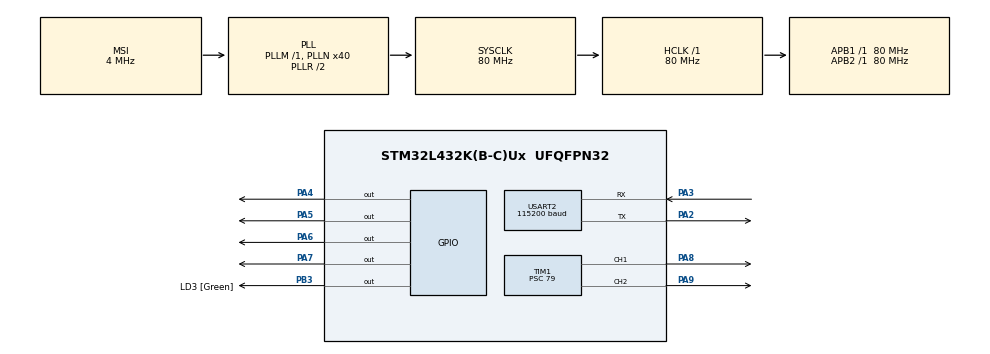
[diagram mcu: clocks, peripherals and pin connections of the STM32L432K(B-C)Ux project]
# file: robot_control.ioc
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Mcu.Family=STM32L4
Mcu.Name=STM32L432K(B-C)Ux
Mcu.Package=UFQFPN32
NVIC.PriorityGroup=NVIC_PRIORITYGROUP_4
NVIC.USART2_IRQn=true\:0\:0\:false\:false\:true\:true\:true\:true
PA0.GPIO_Label=MCO [High speed clock in]
PA0.Mode=HSE-External-Clock-Source-for-LittleOrca
PA0.Signal=RCC_CK_IN
PA13\ (JTMS-SWDIO).GPIO_Label=SWDIO
PA13\ (JTMS-SWDIO).Mode=Serial_Wire
PA13\ (JTMS-SWDIO).Signal=SYS_JTMS-SWDIO
PA14\ (JTCK-SWCLK).GPIO_Label=SWCLK
PA14\ (JTCK-SWCLK).Mode=Serial_Wire
PA14\ (JTCK-SWCLK).Signal=SYS_JTCK-SWCLK
PA2.Mode=Asynchronous
PA2.Signal=USART2_TX
PA3.Mode=Asynchronous
PA3.Signal=USART2_RX
PA4.Signal=GPIO_Output
PA5.Signal=GPIO_Output
PA6.Signal=GPIO_Output
PA7.Signal=GPIO_Output
PA8.Signal=S_TIM1_CH1
PA9.Signal=S_TIM1_CH2
PB3\ (JTDO-TRACESWO).GPIO_Label=LD3 [Green]
PB3\ (JTDO-TRACESWO).Signal=GPIO_Output
PC14-OSC32_IN\ (PC14).Mode=LSE-External-Oscillator
PC14-OSC32_IN\ (PC14).Signal=RCC_OSC32_IN
PC15-OSC32_OUT\ (PC15).Mode=LSE-External-Oscillator
PC15-OSC32_OUT\ (PC15).Signal=RCC_OSC32_OUT
ProjectManager.HeapSize=0x200
ProjectManager.StackSize=0x400
ProjectManager.TargetToolchain=STM32CubeIDE
RCC.AHBFreq_Value=80000000
RCC.APB1Freq_Value=80000000
RCC.APB1TimFreq_Value=80000000
RCC.APB2Freq_Value=80000000
RCC.APB2TimFreq_Value=80000000
RCC.CortexFreq_Value=80000000
RCC.HCLKFreq_Value=80000000
RCC.HSE_VALUE=8000000
RCC.HSI16_VALUE=16000000
RCC.HSI48_VALUE=48000000
RCC.HSI_VALUE=16000000
RCC.MSI_VALUE=4000000
RCC.PLLMUL=RCC_PLLMUL_4
RCC.PLLN=40
RCC.SYSCLKFreq_VALUE=80000000
RCC.SYSCLKSource=RCC_SYSCLKSOURCE_PLLCLK
RCC.VCOOutputFreq_Value=160000000
SH.S_TIM1_CH1.0=TIM1_CH1,PWM Generation1 CH1
SH.S_TIM1_CH2.0=TIM1_CH2,PWM Generation2 CH2
TIM1.AutoReloadPreload=TIM_AUTORELOAD_PRELOAD_ENABLE
TIM1.Channel-PWM\ Generation1\ CH1=TIM_CHANNEL_1
TIM1.Channel-PWM\ Generation2\ CH2=TIM_CHANNEL_2
TIM1.Period=1999
TIM1.Prescaler=79
USART2.BaudRate=115200
USART2.Mode=MODE_RX
USART2.VirtualMode-Asynchronous=VM_ASYNC
VP_TIM1_VS_ClockSourceINT.Mode=Internal
board=NUCLEO-L432KC

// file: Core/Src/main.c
/* USER CODE BEGIN Header */
/**
  ******************************************************************************
  * @file           : main.c
  * @brief          : Main program body
  ******************************************************************************
  * @attention
  *
  * Copyright (c) 2025 STMicroelectronics.
  * All rights reserved.
  *
  * This software is licensed under terms that can be found in the LICENSE file
  * in the root directory of this software component.
  * If no LICENSE file comes with this software, it is provided AS-IS.
  *
  ******************************************************************************
  */
/* USER CODE END Header */
#include "main.h"

TIM_HandleTypeDef htim1;

UART_HandleTypeDef huart2;

/* USER CODE BEGIN PV */

char rx_buffer[RX_BUFFER_SIZE];
char direction;
int pwm_value;

/* USER CODE END PV */

void SystemClock_Config(void);
static void MX_GPIO_Init(void);
static void MX_USART2_UART_Init(void);
static void MX_TIM1_Init(void);

int main(void)
{

  /* MCU Configuration--------------------------------------------------------*/

  /* Reset of all peripherals, Initializes the Flash interface and the Systick. */
  HAL_Init();

  /* Configure the system clock */
  SystemClock_Config();

  /* Initialize all configured peripherals */
  MX_GPIO_Init();
  MX_USART2_UART_Init();
  MX_TIM1_Init();
  /* USER CODE BEGIN 2 */
  HAL_TIM_PWM_Start(&htim1, TIM_CHANNEL_1);
  HAL_TIM_PWM_Start(&htim1, TIM_CHANNEL_2);
  memset(rx_buffer, 0, sizeof(rx_buffer));
  HAL_UART_Receive_IT(&huart2, (uint8_t*)rx_buffer, RX_BUFFER_SIZE);
  /* USER CODE END 2 */

  /* Infinite loop */
  /* USER CODE BEGIN WHILE */
  while (1)
  {
    // Motor control logic based on direction and pwm_value
    switch (direction)
    {
        case 'F':  // Forward
            Motor_SetSpeedLeft(pwm_value);  // Forward left motor for right turn
            Motor_SetSpeedRight(-pwm_value); // Reverse right motor for right turn
            break;
        case 'B':  // Backward
            Motor_SetSpeedLeft(-pwm_value);
            Motor_SetSpeedRight(pwm_value);
            break;
        case 'L':  // Left
            Motor_SetSpeedLeft(-pwm_value); // Reverse left motor
            Motor_SetSpeedRight(-pwm_value); // Reverse right motor
            break;
        case 'R':  // Right
            Motor_SetSpeedLeft(pwm_value);
            Motor_SetSpeedRight(pwm_value);
            break;
        default:  // Stop all motors if direction is invalid or unrecognized
            Motor_StopAll();
            break;
    }
    /* USER CODE END WHILE */

  }
}

void SystemClock_Config(void)
{
  RCC_OscInitTypeDef RCC_OscInitStruct = {0};
  RCC_ClkInitTypeDef RCC_ClkInitStruct = {0};

  /** Configure the main internal regulator output voltage
  */
  if (HAL_PWREx_ControlVoltageScaling(PWR_REGULATOR_VOLTAGE_SCALE1) != HAL_OK)
  {
    Error_Handler();
  }

  /** Configure LSE Drive Capability
  */
  HAL_PWR_EnableBkUpAccess();
  __HAL_RCC_LSEDRIVE_CONFIG(RCC_LSEDRIVE_LOW);

  /** Initializes the RCC Oscillators according to the specified parameters
  * in the RCC_OscInitTypeDef structure.
  */
  RCC_OscInitStruct.OscillatorType = RCC_OSCILLATORTYPE_LSE|RCC_OSCILLATORTYPE_MSI;
  RCC_OscInitStruct.LSEState = RCC_LSE_ON;
  RCC_OscInitStruct.MSIState = RCC_MSI_ON;
  RCC_OscInitStruct.MSICalibrationValue = 0;
  RCC_OscInitStruct.MSIClockRange = RCC_MSIRANGE_6;
  RCC_OscInitStruct.PLL.PLLState = RCC_PLL_ON;
  RCC_OscInitStruct.PLL.PLLSource = RCC_PLLSOURCE_MSI;
  RCC_OscInitStruct.PLL.PLLM = 1;
  RCC_OscInitStruct.PLL.PLLN = 40;
  RCC_OscInitStruct.PLL.PLLP = RCC_PLLP_DIV7;
  RCC_OscInitStruct.PLL.PLLQ = RCC_PLLQ_DIV2;
  RCC_OscInitStruct.PLL.PLLR = RCC_PLLR_DIV2;
  if (HAL_RCC_OscConfig(&RCC_OscInitStruct) != HAL_OK)
  {
    Error_Handler();
  }

  /** Initializes the CPU, AHB and APB buses clocks
  */
  RCC_ClkInitStruct.ClockType = RCC_CLOCKTYPE_HCLK|RCC_CLOCKTYPE_SYSCLK
                              |RCC_CLOCKTYPE_PCLK1|RCC_CLOCKTYPE_PCLK2;
  RCC_ClkInitStruct.SYSCLKSource = RCC_SYSCLKSOURCE_PLLCLK;
  RCC_ClkInitStruct.AHBCLKDivider = RCC_SYSCLK_DIV1;
  RCC_ClkInitStruct.APB1CLKDivider = RCC_HCLK_DIV1;
  RCC_ClkInitStruct.APB2CLKDivider = RCC_HCLK_DIV1;

  if (HAL_RCC_ClockConfig(&RCC_ClkInitStruct, FLASH_LATENCY_4) != HAL_OK)
  {
    Error_Handler();
  }

  /** Enable MSI Auto calibration
  */
  HAL_RCCEx_EnableMSIPLLMode();
}

static void MX_TIM1_Init(void)
{

  TIM_ClockConfigTypeDef sClockSourceConfig = {0};
  TIM_MasterConfigTypeDef sMasterConfig = {0};
  TIM_OC_InitTypeDef sConfigOC = {0};
  TIM_BreakDeadTimeConfigTypeDef sBreakDeadTimeConfig = {0};

  htim1.Instance = TIM1;
  htim1.Init.Prescaler = 79;
  htim1.Init.CounterMode = TIM_COUNTERMODE_UP;
  htim1.Init.Period = 1999;
  htim1.Init.ClockDivision = TIM_CLOCKDIVISION_DIV1;
  htim1.Init.RepetitionCounter = 0;
  htim1.Init.AutoReloadPreload = TIM_AUTORELOAD_PRELOAD_ENABLE;
  if (HAL_TIM_Base_Init(&htim1) != HAL_OK)
  {
    Error_Handler();
  }
  sClockSourceConfig.ClockSource = TIM_CLOCKSOURCE_INTERNAL;
  if (HAL_TIM_ConfigClockSource(&htim1, &sClockSourceConfig) != HAL_OK)
  {
    Error_Handler();
  }
  if (HAL_TIM_PWM_Init(&htim1) != HAL_OK)
  {
    Error_Handler();
  }
  sMasterConfig.MasterOutputTrigger = TIM_TRGO_RESET;
  sMasterConfig.MasterOutputTrigger2 = TIM_TRGO2_RESET;
  sMasterConfig.MasterSlaveMode = TIM_MASTERSLAVEMODE_DISABLE;
  if (HAL_TIMEx_MasterConfigSynchronization(&htim1, &sMasterConfig) != HAL_OK)
  {
    Error_Handler();
  }
  sConfigOC.OCMode = TIM_OCMODE_PWM1;
  sConfigOC.Pulse = 0;
  sConfigOC.OCPolarity = TIM_OCPOLARITY_HIGH;
  sConfigOC.OCNPolarity = TIM_OCNPOLARITY_HIGH;
  sConfigOC.OCFastMode = TIM_OCFAST_DISABLE;
  sConfigOC.OCIdleState = TIM_OCIDLESTATE_RESET;
  sConfigOC.OCNIdleState = TIM_OCNIDLESTATE_RESET;
  if (HAL_TIM_PWM_ConfigChannel(&htim1, &sConfigOC, TIM_CHANNEL_1) != HAL_OK)
  {
    Error_Handler();
  }
  if (HAL_TIM_PWM_ConfigChannel(&htim1, &sConfigOC, TIM_CHANNEL_2) != HAL_OK)
  {
    Error_Handler();
  }
  sBreakDeadTimeConfig.OffStateRunMode = TIM_OSSR_DISABLE;
  sBreakDeadTimeConfig.OffStateIDLEMode = TIM_OSSI_DISABLE;
  sBreakDeadTimeConfig.LockLevel = TIM_LOCKLEVEL_OFF;
  sBreakDeadTimeConfig.DeadTime = 0;
  sBreakDeadTimeConfig.BreakState = TIM_BREAK_DISABLE;
  sBreakDeadTimeConfig.BreakPolarity = TIM_BREAKPOLARITY_HIGH;
  sBreakDeadTimeConfig.BreakFilter = 0;
  sBreakDeadTimeConfig.Break2State = TIM_BREAK2_DISABLE;
  sBreakDeadTimeConfig.Break2Polarity = TIM_BREAK2POLARITY_HIGH;
  sBreakDeadTimeConfig.Break2Filter = 0;
  sBreakDeadTimeConfig.AutomaticOutput = TIM_AUTOMATICOUTPUT_DISABLE;
  if (HAL_TIMEx_ConfigBreakDeadTime(&htim1, &sBreakDeadTimeConfig) != HAL_OK)
  {
    Error_Handler();
  }
  HAL_TIM_MspPostInit(&htim1);

}

static void MX_USART2_UART_Init(void)
{

  huart2.Instance = USART2;
  huart2.Init.BaudRate = 115200;
  huart2.Init.WordLength = UART_WORDLENGTH_8B;
  huart2.Init.StopBits = UART_STOPBITS_1;
  huart2.Init.Parity = UART_PARITY_NONE;
  huart2.Init.Mode = UART_MODE_RX;
  huart2.Init.HwFlowCtl = UART_HWCONTROL_NONE;
  huart2.Init.OverSampling = UART_OVERSAMPLING_16;
  huart2.Init.OneBitSampling = UART_ONE_BIT_SAMPLE_DISABLE;
  huart2.AdvancedInit.AdvFeatureInit = UART_ADVFEATURE_NO_INIT;
  if (HAL_UART_Init(&huart2) != HAL_OK)
  {
    Error_Handler();
  }

}

static void MX_GPIO_Init(void)
{
  GPIO_InitTypeDef GPIO_InitStruct = {0};

  /* GPIO Ports Clock Enable */
  __HAL_RCC_GPIOC_CLK_ENABLE();
  __HAL_RCC_GPIOA_CLK_ENABLE();
  __HAL_RCC_GPIOB_CLK_ENABLE();

  /*Configure GPIO pin Output Level */
  HAL_GPIO_WritePin(GPIOA, GPIO_PIN_4|GPIO_PIN_5|GPIO_PIN_6|GPIO_PIN_7, GPIO_PIN_RESET);

  /*Configure GPIO pin Output Level */
  HAL_GPIO_WritePin(LD3_GPIO_Port, LD3_Pin, GPIO_PIN_RESET);

  /*Configure GPIO pins : PA4 PA5 PA6 PA7 */
  GPIO_InitStruct.Pin = GPIO_PIN_4|GPIO_PIN_5|GPIO_PIN_6|GPIO_PIN_7;
  GPIO_InitStruct.Mode = GPIO_MODE_OUTPUT_PP;
  GPIO_InitStruct.Pull = GPIO_NOPULL;
  GPIO_InitStruct.Speed = GPIO_SPEED_FREQ_LOW;
  HAL_GPIO_Init(GPIOA, &GPIO_InitStruct);

  /*Configure GPIO pin : LD3_Pin */
  GPIO_InitStruct.Pin = LD3_Pin;
  GPIO_InitStruct.Mode = GPIO_MODE_OUTPUT_PP;
  GPIO_InitStruct.Pull = GPIO_NOPULL;
  GPIO_InitStruct.Speed = GPIO_SPEED_FREQ_LOW;
  HAL_GPIO_Init(LD3_GPIO_Port, &GPIO_InitStruct);

}

/* USER CODE BEGIN 4 */

void HAL_UART_RxCpltCallback(UART_HandleTypeDef *huart)
{
    if (huart->Instance == USART2)  // Ensure it's the correct UART instance
    {
        // Null-terminate the received string properly
    	rx_buffer[RX_BUFFER_SIZE - 1] = '\0';  // Ensure null termination

        // Ensure the received command is of the correct format (e.g., "F700")
        direction = rx_buffer[0];
        pwm_value = atoi((char*)&rx_buffer[1]);

        // Restart UART receive interrupt mode for continuous reception
        HAL_UART_Receive_IT(&huart2, (uint8_t*)rx_buffer, RX_BUFFER_SIZE);
    }
}

/* USER CODE END 4 */

void Error_Handler(void)
{
  __disable_irq();
  while (1)
  {
  }
}
